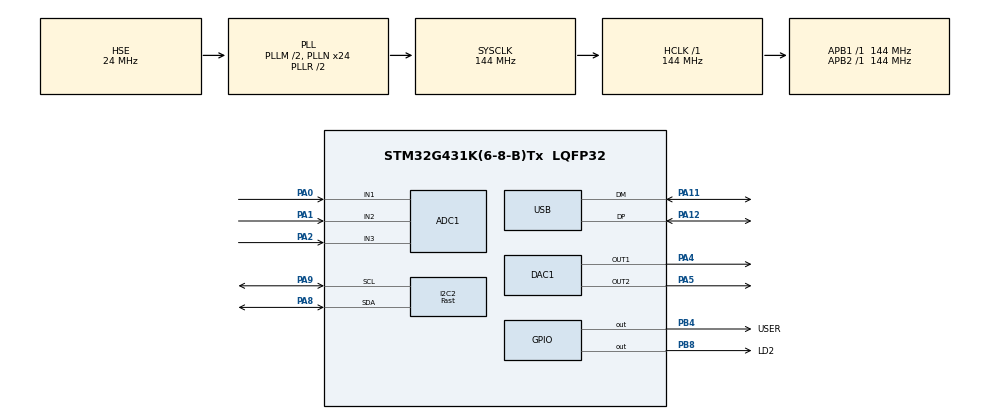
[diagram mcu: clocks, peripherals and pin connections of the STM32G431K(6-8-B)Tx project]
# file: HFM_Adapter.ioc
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ADC1.Channel-4\#ChannelRegularConversion=ADC_CHANNEL_1
ADC1.Channel-5\#ChannelRegularConversion=ADC_CHANNEL_2
ADC1.Channel-6\#ChannelRegularConversion=ADC_CHANNEL_3
ADC1.Channel-7\#ChannelRegularConversion=ADC_CHANNEL_TEMPSENSOR_ADC1
ADC1.Channel-8\#ChannelRegularConversion=ADC_CHANNEL_VREFINT
ADC1.ClockPrescaler=ADC_CLOCK_SYNC_PCLK_DIV4
ADC1.ContinuousConvMode=ENABLE
ADC1.DMAContinuousRequests=ENABLE
ADC1.NbrOfConversion=5
ADC1.NbrOfConversionFlag=1
ADC1.OffsetNumber-4\#ChannelRegularConversion=ADC_OFFSET_NONE
ADC1.OffsetNumber-5\#ChannelRegularConversion=ADC_OFFSET_NONE
ADC1.OffsetNumber-6\#ChannelRegularConversion=ADC_OFFSET_NONE
ADC1.OffsetNumber-7\#ChannelRegularConversion=ADC_OFFSET_NONE
ADC1.OffsetNumber-8\#ChannelRegularConversion=ADC_OFFSET_NONE
ADC1.Rank-4\#ChannelRegularConversion=1
ADC1.Rank-5\#ChannelRegularConversion=2
ADC1.Rank-6\#ChannelRegularConversion=3
ADC1.Rank-7\#ChannelRegularConversion=4
ADC1.Rank-8\#ChannelRegularConversion=5
ADC1.SamplingTime-4\#ChannelRegularConversion=ADC_SAMPLETIME_24CYCLES_5
ADC1.SamplingTime-5\#ChannelRegularConversion=ADC_SAMPLETIME_24CYCLES_5
ADC1.SamplingTime-6\#ChannelRegularConversion=ADC_SAMPLETIME_24CYCLES_5
ADC1.SamplingTime-7\#ChannelRegularConversion=ADC_SAMPLETIME_247CYCLES_5
ADC1.SamplingTime-8\#ChannelRegularConversion=ADC_SAMPLETIME_92CYCLES_5
ADC1.master=1
DAC1.DAC_Channel-DAC_OUT2=DAC_CHANNEL_2
Dma.ADC1.0.Direction=DMA_PERIPH_TO_MEMORY
Dma.ADC1.0.EventEnable=DISABLE
Dma.ADC1.0.Instance=DMA1_Channel1
Dma.ADC1.0.MemDataAlignment=DMA_MDATAALIGN_HALFWORD
Dma.ADC1.0.MemInc=DMA_MINC_ENABLE
Dma.ADC1.0.Mode=DMA_CIRCULAR
Dma.ADC1.0.PeriphDataAlignment=DMA_PDATAALIGN_HALFWORD
Dma.ADC1.0.PeriphInc=DMA_PINC_DISABLE
Dma.ADC1.0.Polarity=HAL_DMAMUX_REQ_GEN_RISING
Dma.ADC1.0.Priority=DMA_PRIORITY_LOW
Dma.ADC1.0.RequestNumber=1
Dma.ADC1.0.SignalID=NONE
Dma.ADC1.0.SyncEnable=DISABLE
Dma.ADC1.0.SyncPolarity=HAL_DMAMUX_SYNC_NO_EVENT
Dma.ADC1.0.SyncRequestNumber=1
Dma.ADC1.0.SyncSignalID=NONE
Dma.Request0=ADC1
I2C2.I2C_Speed_Mode=I2C_Fast
I2C2.Timing=0x00E057FD
Mcu.Family=STM32G4
Mcu.Name=STM32G431K(6-8-B)Tx
Mcu.Package=LQFP32
NVIC.DMA1_Channel1_IRQn=true\:0\:0\:false\:false\:true\:false\:true\:true
NVIC.PriorityGroup=NVIC_PRIORITYGROUP_4
NVIC.TIM1_TRG_COM_TIM17_IRQn=true\:0\:0\:false\:false\:true\:true\:true\:true
NVIC.USB_LP_IRQn=true\:0\:0\:false\:false\:true\:false\:true\:true
PA0.Mode=IN1-Single-Ended
PA0.Signal=ADC1_IN1
PA1.Mode=IN2-Single-Ended
PA1.Signal=ADC1_IN2
PA11.Mode=Device
PA11.Signal=USB_DM
PA12.Mode=Device
PA12.Signal=USB_DP
PA13.GPIO_Label=T_SWDIO
PA13.Mode=Serial_Wire
PA13.Signal=SYS_JTMS-SWDIO
PA14.GPIO_Label=T_SWCLK
PA14.Mode=Serial_Wire
PA14.Signal=SYS_JTCK-SWCLK
PA2.Mode=IN3-Single-Ended
PA2.Signal=ADC1_IN3
PA4.Signal=COMP_DAC11_group
PA5.Signal=COMP_DAC12_group
PA8.Mode=I2C
PA8.Signal=I2C2_SDA
PA9.Mode=I2C
PA9.Signal=I2C2_SCL
PB3.Signal=SYS_JTDO-SWO
PB4.GPIO_Label=USER
PB4.Signal=GPIO_Output
PB8-BOOT0.GPIO_Label=LD2
PB8-BOOT0.Signal=GPIO_Output
PF0-OSC_IN.Mode=HSE-External-Oscillator
PF0-OSC_IN.Signal=RCC_OSC_IN
PF1-OSC_OUT.Mode=HSE-External-Oscillator
PF1-OSC_OUT.Signal=RCC_OSC_OUT
ProjectManager.HeapSize=0x200
ProjectManager.StackSize=0x400
ProjectManager.TargetToolchain=STM32CubeIDE
RCC.ADC12Freq_Value=144000000
RCC.AHBFreq_Value=144000000
RCC.APB1Freq_Value=144000000
RCC.APB1TimFreq_Value=144000000
RCC.APB2Freq_Value=144000000
RCC.APB2TimFreq_Value=144000000
RCC.CK48CLockSelection=RCC_USBCLKSOURCE_HSI48
RCC.CortexFreq_Value=144000000
RCC.EXTERNAL_CLOCK_VALUE=12288000
RCC.HCLKFreq_Value=144000000
RCC.HSE_VALUE=24000000
RCC.HSI48_VALUE=48000000
RCC.HSI_VALUE=16000000
RCC.LSE_VALUE=32768
RCC.PLLM=RCC_PLLM_DIV2
RCC.PLLN=24
RCC.PLLSourceVirtual=RCC_PLLSOURCE_HSE
RCC.SYSCLKFreq_VALUE=144000000
RCC.SYSCLKSource=RCC_SYSCLKSOURCE_PLLCLK
RCC.USBFreq_Value=48000000
RCC.VCOOutputFreq_Value=288000000
SH.COMP_DAC11_group.0=DAC1_OUT1,DAC_OUT1
SH.COMP_DAC12_group.0=DAC1_OUT2,DAC_OUT2
TIM17.AutoReloadPreload=TIM_AUTORELOAD_PRELOAD_ENABLE
TIM17.PeriodNoDither=2000-1
TIM17.Prescaler=14400-1
USB_DEVICE.CLASS_NAME_FS=CDC
USB_DEVICE.VirtualMode=Cdc
USB_DEVICE.VirtualModeFS=Cdc_FS
VP_ADC1_TempSens_Input.Mode=IN-TempSens
VP_ADC1_Vref_Input.Mode=IN-Vrefint
VP_TIM17_VS_ClockSourceINT.Mode=Enable_Timer
VP_USB_DEVICE_VS_USB_DEVICE_CDC_FS.Mode=CDC_FS
board=NUCLEO-G431KB

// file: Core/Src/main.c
/* USER CODE BEGIN Header */
/**
  ******************************************************************************
  * @file           : main.c
  * @brief          : Main program body
  ******************************************************************************
  * @attention
  *
  * Copyright (c) 2023 STMicroelectronics.
  * All rights reserved.
  *
  * This software is licensed under terms that can be found in the LICENSE file
  * in the root directory of this software component.
  * If no LICENSE file comes with this software, it is provided AS-IS.
  *
  ******************************************************************************
  */
/* USER CODE END Header */
#include "main.h"
#include "usb_device.h"

/* USER CODE BEGIN Includes */
#include "at24cxx_hal.h"
#include "ts_config.h"
#include "maf.h"
/* USER CODE END Includes */

ADC_HandleTypeDef hadc1;
DMA_HandleTypeDef hdma_adc1;

DAC_HandleTypeDef hdac1;

I2C_HandleTypeDef hi2c2;

TIM_HandleTypeDef htim17;

/* USER CODE BEGIN PV */

AT24CXX_HandleTypeDef eeprom_chip;

extern uint8_t UserRxBufferFS[APP_RX_DATA_SIZE];
extern uint8_t UserTxBufferFS[APP_TX_DATA_SIZE];
extern uint16_t received_data_length;
extern bool received_data;

extern TS_Config ts_config;
extern TS_Signature ts_signature;

uint16_t livedata[8];
int16_t mcu_temp = 0;
int16_t vref = 0;
uint16_t hfm1_in_v = 0;
uint16_t hfm2_in_v = 0;
uint16_t hfm1_air = 0;
uint16_t hfm2_air = 0;
uint16_t hfm1_out_v = 0;
uint16_t hfm2_out_v = 0;
uint16_t hfm1_out_dac = 0;
uint16_t hfm2_out_dac = 0;

uint16_t adc_values[5] = {0};

/* USER CODE END PV */

void SystemClock_Config(void);
static void MX_GPIO_Init(void);
static void MX_DMA_Init(void);
static void MX_DAC1_Init(void);
static void MX_I2C2_Init(void);
static void MX_ADC1_Init(void);
static void MX_TIM17_Init(void);
/* USER CODE BEGIN PFP */

static void AT24CXX_Init(void);
static int16_t calc_temperature (uint16_t data);
static int16_t calc_vref (uint16_t data);
static uint16_t calc_voltage (uint16_t data);
/* USER CODE END PFP */

int main(void)
{

  /* MCU Configuration--------------------------------------------------------*/

  /* Reset of all peripherals, Initializes the Flash interface and the Systick. */
  HAL_Init();

  /* Configure the system clock */
  SystemClock_Config();

  /* Initialize all configured peripherals */
  MX_GPIO_Init();
  MX_DMA_Init();
  MX_DAC1_Init();
  MX_I2C2_Init();
  MX_USB_Device_Init();
  MX_ADC1_Init();
  MX_TIM17_Init();
  /* USER CODE BEGIN 2 */

  HAL_ADC_Start_DMA(&hadc1, (uint32_t*)adc_values, 5);
  HAL_DAC_Start(&hdac1, DAC1_CHANNEL_1);
  HAL_DAC_Start(&hdac1, DAC1_CHANNEL_2);
  HAL_TIM_Base_Start_IT(&htim17);

  AT24CXX_Init();

  uint8_t configCheck;

  if (at24cxx_connected(eeprom_chip) == HAL_OK)
  {
	  at24cxx_read(eeprom_chip, 0, 0, (uint8_t*)&configCheck, sizeof (configCheck));

	  if (configCheck == 0xff)
	  {
		  // chip is not initialised, so write a default configuration...
		  create_initial_config(&ts_config, &ts_signature);

		  at24cxx_write(eeprom_chip, TS_SIGNATURE_PAGE, 0, (uint8_t*)&ts_signature, sizeof(ts_signature));
		  at24cxx_write(eeprom_chip, TS_CONFIG_PAGE, 0, (uint8_t*)&ts_config, sizeof(ts_config));
	  }
	  else
	  {
		  at24cxx_read(eeprom_chip, TS_SIGNATURE_PAGE, 0, (uint8_t*)&ts_signature, sizeof(ts_signature));
		  at24cxx_read(eeprom_chip, TS_CONFIG_PAGE, 0, (uint8_t*)&ts_config, sizeof(ts_config));
	  }

	  // at24cxx_erase_chip(eeprom_chip);

	  /*
	  at24cxx_write(eeprom_chip, 1, 0, (uint8_t*)&dataw, strlen((char *)dataw));
	  at24cxx_read(eeprom_chip, 1, 0, (uint8_t*)&datar, sizeof (datar));

	  at24cxx_write_16(eeprom_chip, 0, 0, data16_w);
	  data16_r = at24cxx_read_16(eeprom_chip, 0, 0);
	  */
  }

  HAL_DAC_SetValue(&hdac1, DAC_CHANNEL_1, DAC_ALIGN_12B_R, 2284);
  HAL_DAC_SetValue(&hdac1, DAC_CHANNEL_1, DAC_ALIGN_12B_R, 3999);

  /* USER CODE END 2 */

  /* Infinite loop */
  /* USER CODE BEGIN WHILE */
  while (1)
  {

	  if (received_data)
	  {
		  // do stuff with new received data....

		  if (received_data_length == 1)
		  {
			  // we have got a single byte command...

			  switch (UserRxBufferFS[0])
			  {
				  case 'Z':
					  at24cxx_erase_chip(eeprom_chip);

					  create_initial_config(&ts_config, &ts_signature);

					  at24cxx_write(eeprom_chip, TS_SIGNATURE_PAGE, 0, (uint8_t*)&ts_signature, sizeof(ts_signature));
					  at24cxx_write(eeprom_chip, TS_CONFIG_PAGE, 0, (uint8_t*)&ts_config, sizeof(ts_config));
					  break;
				  case 'F':
					  CDC_Transmit_FS((uint8_t*) ts_signature.version, sizeof(ts_signature.version));
					  break;
				  case 'Q':
					  CDC_Transmit_FS((uint8_t*) ts_signature.signature, sizeof(ts_signature.signature));
					  break;
				  case 'S':
					  CDC_Transmit_FS((uint8_t*) ts_signature.version_info, sizeof(ts_signature.version_info));
					  break;
				  case 'A':
					  livedata[0] = hfm1_in_v;
					  livedata[1] = hfm2_in_v;
					  livedata[2] = hfm1_air;
					  livedata[3] = hfm2_air;
					  livedata[4] = hfm1_out_v;
					  livedata[5] = hfm2_out_v;
					  livedata[6] = mcu_temp;
					  livedata[7] = vref;
					  CDC_Transmit_FS((uint8_t*) livedata, sizeof(livedata));
					  break;

				  default:
					  CDC_Transmit_FS((uint8_t*) "Not implemented", 15);
					  break;
			  }
		  }

		  if (received_data_length > 1)
		  {
			  // we have got a multibyte command...
			  uint8_t cmd[received_data_length];
			  memcpy(cmd, UserRxBufferFS, received_data_length);

			  switch(cmd[0])
			  {
			  	  case 'B':
					  {
						  uint16_t page_indentifier = word(cmd[2], cmd[1]);
						  at24cxx_write(eeprom_chip, page_indentifier, 0, (uint8_t*)&ts_config, sizeof(ts_config));
					  }
					  break;
			  	  case 'R':
					  {
					  /* reading page data, 6 bytes expected
					   * 2 bytes: page identifier
					   * 2 bytes: offset
					   * 2 bytes: length
					  */
						  uint16_t page_indentifier = word(cmd[2], cmd[1]);
						  uint16_t offset = word(cmd[4], cmd[3]);
						  uint16_t lenght = word(cmd[6], cmd[5]);
						  uint8_t config[lenght];

						  at24cxx_read(eeprom_chip, page_indentifier, offset, (uint8_t*)&config, lenght);
						  CDC_Transmit_FS((uint8_t*) &config, lenght);
					  }
					  break;
			  	  case 'W':
					  {
						  /* we expect 9 bytes
						   * 1 byte: W
						   * 2 bytes: pageIdentifier
						   * 2 bytes: offset / memory address, value: parameterStartOffset + offset
						   * 2 bytes: length of bytes to be written
						   * 2 bytes: byte array
						   */

						  // the real config is starts at offset 64, 0-63 is signature...

						  uint16_t page_indentifier = word(cmd[2], cmd[1]);
						  uint16_t offset = word(cmd[4], cmd[3]);
						  uint16_t lenght = word(cmd[6], cmd[5]);
						  uint16_t value = 0;

						  if (offset == lenght)
						  {
							  // single byte value
							  value = cmd[7];
						  }
						  else
						  {
							  // two byte value
							  value = word(cmd[8], cmd[7]);
						  }

						  set_page_value(offset, value, &ts_config);
					  }
			  		  break;
			  }

		  }

		  received_data = false;
	  }
    /* USER CODE END WHILE */

  }
}

void SystemClock_Config(void)
{
  RCC_OscInitTypeDef RCC_OscInitStruct = {0};
  RCC_ClkInitTypeDef RCC_ClkInitStruct = {0};

  /** Configure the main internal regulator output voltage
  */
  HAL_PWREx_ControlVoltageScaling(PWR_REGULATOR_VOLTAGE_SCALE1);

  /** Initializes the RCC Oscillators according to the specified parameters
  * in the RCC_OscInitTypeDef structure.
  */
  RCC_OscInitStruct.OscillatorType = RCC_OSCILLATORTYPE_HSI48|RCC_OSCILLATORTYPE_HSE;
  RCC_OscInitStruct.HSEState = RCC_HSE_ON;
  RCC_OscInitStruct.HSI48State = RCC_HSI48_ON;
  RCC_OscInitStruct.PLL.PLLState = RCC_PLL_ON;
  RCC_OscInitStruct.PLL.PLLSource = RCC_PLLSOURCE_HSE;
  RCC_OscInitStruct.PLL.PLLM = RCC_PLLM_DIV2;
  RCC_OscInitStruct.PLL.PLLN = 24;
  RCC_OscInitStruct.PLL.PLLP = RCC_PLLP_DIV2;
  RCC_OscInitStruct.PLL.PLLQ = RCC_PLLQ_DIV2;
  RCC_OscInitStruct.PLL.PLLR = RCC_PLLR_DIV2;
  if (HAL_RCC_OscConfig(&RCC_OscInitStruct) != HAL_OK)
  {
    Error_Handler();
  }

  /** Initializes the CPU, AHB and APB buses clocks
  */
  RCC_ClkInitStruct.ClockType = RCC_CLOCKTYPE_HCLK|RCC_CLOCKTYPE_SYSCLK
                              |RCC_CLOCKTYPE_PCLK1|RCC_CLOCKTYPE_PCLK2;
  RCC_ClkInitStruct.SYSCLKSource = RCC_SYSCLKSOURCE_PLLCLK;
  RCC_ClkInitStruct.AHBCLKDivider = RCC_SYSCLK_DIV1;
  RCC_ClkInitStruct.APB1CLKDivider = RCC_HCLK_DIV1;
  RCC_ClkInitStruct.APB2CLKDivider = RCC_HCLK_DIV1;

  if (HAL_RCC_ClockConfig(&RCC_ClkInitStruct, FLASH_LATENCY_4) != HAL_OK)
  {
    Error_Handler();
  }
}

static void MX_ADC1_Init(void)
{

  ADC_MultiModeTypeDef multimode = {0};
  ADC_ChannelConfTypeDef sConfig = {0};

  /** Common config
  */
  hadc1.Instance = ADC1;
  hadc1.Init.ClockPrescaler = ADC_CLOCK_SYNC_PCLK_DIV4;
  hadc1.Init.Resolution = ADC_RESOLUTION_12B;
  hadc1.Init.DataAlign = ADC_DATAALIGN_RIGHT;
  hadc1.Init.GainCompensation = 0;
  hadc1.Init.ScanConvMode = ADC_SCAN_ENABLE;
  hadc1.Init.EOCSelection = ADC_EOC_SINGLE_CONV;
  hadc1.Init.LowPowerAutoWait = DISABLE;
  hadc1.Init.ContinuousConvMode = ENABLE;
  hadc1.Init.NbrOfConversion = 5;
  hadc1.Init.DiscontinuousConvMode = DISABLE;
  hadc1.Init.ExternalTrigConv = ADC_SOFTWARE_START;
  hadc1.Init.ExternalTrigConvEdge = ADC_EXTERNALTRIGCONVEDGE_NONE;
  hadc1.Init.DMAContinuousRequests = ENABLE;
  hadc1.Init.Overrun = ADC_OVR_DATA_PRESERVED;
  hadc1.Init.OversamplingMode = DISABLE;
  if (HAL_ADC_Init(&hadc1) != HAL_OK)
  {
    Error_Handler();
  }

  /** Configure the ADC multi-mode
  */
  multimode.Mode = ADC_MODE_INDEPENDENT;
  if (HAL_ADCEx_MultiModeConfigChannel(&hadc1, &multimode) != HAL_OK)
  {
    Error_Handler();
  }

  /** Configure Regular Channel
  */
  sConfig.Channel = ADC_CHANNEL_1;
  sConfig.Rank = ADC_REGULAR_RANK_1;
  sConfig.SamplingTime = ADC_SAMPLETIME_24CYCLES_5;
  sConfig.SingleDiff = ADC_SINGLE_ENDED;
  sConfig.OffsetNumber = ADC_OFFSET_NONE;
  sConfig.Offset = 0;
  if (HAL_ADC_ConfigChannel(&hadc1, &sConfig) != HAL_OK)
  {
    Error_Handler();
  }

  /** Configure Regular Channel
  */
  sConfig.Channel = ADC_CHANNEL_2;
  sConfig.Rank = ADC_REGULAR_RANK_2;
  if (HAL_ADC_ConfigChannel(&hadc1, &sConfig) != HAL_OK)
  {
    Error_Handler();
  }

  /** Configure Regular Channel
  */
  sConfig.Channel = ADC_CHANNEL_3;
  sConfig.Rank = ADC_REGULAR_RANK_3;
  if (HAL_ADC_ConfigChannel(&hadc1, &sConfig) != HAL_OK)
  {
    Error_Handler();
  }

  /** Configure Regular Channel
  */
  sConfig.Channel = ADC_CHANNEL_TEMPSENSOR_ADC1;
  sConfig.Rank = ADC_REGULAR_RANK_4;
  sConfig.SamplingTime = ADC_SAMPLETIME_247CYCLES_5;
  if (HAL_ADC_ConfigChannel(&hadc1, &sConfig) != HAL_OK)
  {
    Error_Handler();
  }

  /** Configure Regular Channel
  */
  sConfig.Channel = ADC_CHANNEL_VREFINT;
  sConfig.Rank = ADC_REGULAR_RANK_5;
  sConfig.SamplingTime = ADC_SAMPLETIME_92CYCLES_5;
  if (HAL_ADC_ConfigChannel(&hadc1, &sConfig) != HAL_OK)
  {
    Error_Handler();
  }
  /* USER CODE BEGIN ADC1_Init 2 */

  if (HAL_ADCEx_Calibration_Start(&hadc1, ADC_SINGLE_ENDED) != HAL_OK)
  {
	  Error_Handler();
  }

  /* USER CODE END ADC1_Init 2 */

}

static void MX_DAC1_Init(void)
{

  DAC_ChannelConfTypeDef sConfig = {0};

  /** DAC Initialization
  */
  hdac1.Instance = DAC1;
  if (HAL_DAC_Init(&hdac1) != HAL_OK)
  {
    Error_Handler();
  }

  /** DAC channel OUT1 config
  */
  sConfig.DAC_HighFrequency = DAC_HIGH_FREQUENCY_INTERFACE_MODE_AUTOMATIC;
  sConfig.DAC_DMADoubleDataMode = DISABLE;
  sConfig.DAC_SignedFormat = DISABLE;
  sConfig.DAC_SampleAndHold = DAC_SAMPLEANDHOLD_DISABLE;
  sConfig.DAC_Trigger = DAC_TRIGGER_NONE;
  sConfig.DAC_Trigger2 = DAC_TRIGGER_NONE;
  sConfig.DAC_OutputBuffer = DAC_OUTPUTBUFFER_ENABLE;
  sConfig.DAC_ConnectOnChipPeripheral = DAC_CHIPCONNECT_EXTERNAL;
  sConfig.DAC_UserTrimming = DAC_TRIMMING_FACTORY;
  if (HAL_DAC_ConfigChannel(&hdac1, &sConfig, DAC_CHANNEL_1) != HAL_OK)
  {
    Error_Handler();
  }

  /** DAC channel OUT2 config
  */
  if (HAL_DAC_ConfigChannel(&hdac1, &sConfig, DAC_CHANNEL_2) != HAL_OK)
  {
    Error_Handler();
  }
  /* USER CODE BEGIN DAC1_Init 2 */

  if (HAL_DACEx_SelfCalibrate(&hdac1, &sConfig, DAC_CHANNEL_1) != HAL_OK)
   {
     Error_Handler();
   }

  if (HAL_DACEx_SelfCalibrate(&hdac1, &sConfig, DAC_CHANNEL_2) != HAL_OK)
   {
     Error_Handler();
   }

  /* USER CODE END DAC1_Init 2 */

}

static void MX_I2C2_Init(void)
{

  hi2c2.Instance = I2C2;
  hi2c2.Init.Timing = 0x00E057FD;
  hi2c2.Init.OwnAddress1 = 0;
  hi2c2.Init.AddressingMode = I2C_ADDRESSINGMODE_7BIT;
  hi2c2.Init.DualAddressMode = I2C_DUALADDRESS_DISABLE;
  hi2c2.Init.OwnAddress2 = 0;
  hi2c2.Init.OwnAddress2Masks = I2C_OA2_NOMASK;
  hi2c2.Init.GeneralCallMode = I2C_GENERALCALL_DISABLE;
  hi2c2.Init.NoStretchMode = I2C_NOSTRETCH_DISABLE;
  if (HAL_I2C_Init(&hi2c2) != HAL_OK)
  {
    Error_Handler();
  }

  /** Configure Analogue filter
  */
  if (HAL_I2CEx_ConfigAnalogFilter(&hi2c2, I2C_ANALOGFILTER_ENABLE) != HAL_OK)
  {
    Error_Handler();
  }

  /** Configure Digital filter
  */
  if (HAL_I2CEx_ConfigDigitalFilter(&hi2c2, 0) != HAL_OK)
  {
    Error_Handler();
  }

}

static void MX_TIM17_Init(void)
{

  htim17.Instance = TIM17;
  htim17.Init.Prescaler = 14400-1;
  htim17.Init.CounterMode = TIM_COUNTERMODE_UP;
  htim17.Init.Period = 1999;
  htim17.Init.ClockDivision = TIM_CLOCKDIVISION_DIV1;
  htim17.Init.RepetitionCounter = 0;
  htim17.Init.AutoReloadPreload = TIM_AUTORELOAD_PRELOAD_ENABLE;
  if (HAL_TIM_Base_Init(&htim17) != HAL_OK)
  {
    Error_Handler();
  }

}

static void MX_DMA_Init(void)
{

  /* DMA controller clock enable */
  __HAL_RCC_DMAMUX1_CLK_ENABLE();
  __HAL_RCC_DMA1_CLK_ENABLE();

  /* DMA interrupt init */
  /* DMA1_Channel1_IRQn interrupt configuration */
  HAL_NVIC_SetPriority(DMA1_Channel1_IRQn, 0, 0);
  HAL_NVIC_EnableIRQ(DMA1_Channel1_IRQn);

}

static void MX_GPIO_Init(void)
{
  GPIO_InitTypeDef GPIO_InitStruct = {0};

  /* GPIO Ports Clock Enable */
  __HAL_RCC_GPIOF_CLK_ENABLE();
  __HAL_RCC_GPIOA_CLK_ENABLE();
  __HAL_RCC_GPIOB_CLK_ENABLE();

  /*Configure GPIO pin Output Level */
  HAL_GPIO_WritePin(GPIOB, USER_Pin|LD2_Pin, GPIO_PIN_RESET);

  /*Configure GPIO pins : USER_Pin LD2_Pin */
  GPIO_InitStruct.Pin = USER_Pin|LD2_Pin;
  GPIO_InitStruct.Mode = GPIO_MODE_OUTPUT_PP;
  GPIO_InitStruct.Pull = GPIO_NOPULL;
  GPIO_InitStruct.Speed = GPIO_SPEED_FREQ_LOW;
  HAL_GPIO_Init(GPIOB, &GPIO_InitStruct);

}

/* USER CODE BEGIN 4 */

static void AT24CXX_Init(void)
{
	eeprom_chip.at24cxx_address = 0xA0;
	eeprom_chip.at24cxx_page_number = 512;
	eeprom_chip.at24cxx_page_size = 64;
	eeprom_chip.i2c_device = hi2c2;
}

static int16_t calc_temperature (uint16_t data)
{

	/*
	 * Formula:
	 * temp in °C = ((TS_CAL2_TEMP - TS_CAL1_TEMP) / (TS_CAL2 - TS_CAL1)) * (TS_DATA - TS_CAL1) + 30°C
	 *
	 * TS_DATA is value from ADC
	 *
	 */

	float pre = ((float) data / 3) * 3.3;	// rescale from 3.0 volt to 3.3 volts, since the reference values are taken at 3.0volts
	float first = (float)(TEMPSENSOR_CAL2_TEMP - TEMPSENSOR_CAL1_TEMP)/(float)(*TEMPSENSOR_CAL2_ADDR - *TEMPSENSOR_CAL1_ADDR);
	float second = (float)(pre - *TEMPSENSOR_CAL1_ADDR);
	float third = first * second + 30.0;

	return (int16_t)(third * 100);
}

static int16_t calc_vref (uint16_t data)
{
	/*
	 * Formula:
	 * Vref = Vref_char * VREFINT_CAL / VREFINT_DATA
	 */

	float first = (float)(VREFINT_CAL_VREF * *VREFINT_CAL_ADDR);
	float second = first / (float)(data);	// vdda...
	float third = second / (float) 4096 * (float)(data);	// vref

	return (int16_t)(third);
}

static uint16_t calc_voltage (uint16_t data)
{
	float first = 3.3 / (float) 4096;
	float second = first * (float) data;
	float third = 0;

	if (ts_config.showRealADCVoltages)
	{
		third = second;
	}
	else
	{
		third = second * 1.5151515151;
	}

	return (uint16_t)(third*1000);
}

void HAL_TIM_PeriodElapsedCallback(TIM_HandleTypeDef *htim) {
	if (htim == &htim17) {
		mcu_temp = calc_temperature(adc_values[3]);
		vref = calc_vref(adc_values[4]);

		if (ts_config.isChannel1Enabled)
		{
			hfm1_in_v = calc_voltage(adc_values[0]);
			hfm1_air = interpolate_voltage2airMass(hfm1_in_v);
			hfm1_out_v = interpolate_airMass2voltage(hfm1_air);
			hfm1_out_dac = calculate_dac_value_for_voltage(hfm1_out_v);
			HAL_DAC_SetValue(&hdac1, DAC_CHANNEL_1, DAC_ALIGN_12B_R, hfm1_out_dac);
		}

		if (ts_config.isChannel2Enabled)
		{
			hfm2_in_v = calc_voltage(adc_values[1]);
			hfm2_air = interpolate_voltage2airMass(hfm2_in_v);
			hfm2_out_v = interpolate_airMass2voltage(hfm2_air);
			hfm2_out_dac = calculate_dac_value_for_voltage(hfm2_out_v);
			HAL_DAC_SetValue(&hdac1, DAC_CHANNEL_2, DAC_ALIGN_12B_R, hfm2_out_dac);
		}

		int i = 10;

	}
}

/* USER CODE END 4 */

void Error_Handler(void)
{
  __disable_irq();
  while (1)
  {
  }
}
